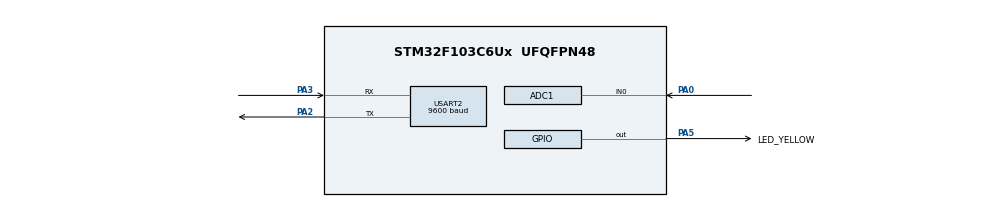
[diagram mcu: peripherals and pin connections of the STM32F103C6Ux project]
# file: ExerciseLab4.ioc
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ADC1.Channel-0\#ChannelRegularConversion=ADC_CHANNEL_0
ADC1.ContinuousConvMode=ENABLE
ADC1.NbrOfConversionFlag=1
ADC1.Rank-0\#ChannelRegularConversion=1
ADC1.SamplingTime-0\#ChannelRegularConversion=ADC_SAMPLETIME_1CYCLE_5
ADC1.master=1
Mcu.Family=STM32F1
Mcu.Name=STM32F103C6Ux
Mcu.Package=UFQFPN48
NVIC.PriorityGroup=NVIC_PRIORITYGROUP_4
NVIC.TIM2_IRQn=true\:0\:0\:false\:false\:true\:true\:true
NVIC.USART2_IRQn=true\:0\:0\:false\:false\:true\:true\:true
PA0-WKUP.Signal=ADCx_IN0
PA2.Mode=Asynchronous
PA2.Signal=USART2_TX
PA3.Mode=Asynchronous
PA3.Signal=USART2_RX
PA5.GPIO_Label=LED_YELLOW
PA5.Signal=GPIO_Output
ProjectManager.HeapSize=0x200
ProjectManager.StackSize=0x400
ProjectManager.TargetToolchain=STM32CubeIDE
RCC.APB1Freq_Value=8000000
RCC.APB2Freq_Value=8000000
SH.ADCx_IN0.0=ADC1_IN0,IN0
TIM2.Period=9
TIM2.Prescaler=7999
USART2.BaudRate=9600
USART2.VirtualMode=VM_ASYNC
VP_SYS_VS_ND.Mode=No_Debug
VP_TIM2_VS_ClockSourceINT.Mode=Internal
board=custom

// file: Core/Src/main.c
/* USER CODE BEGIN Header */
/**
  ******************************************************************************
  * @file           : main.c
  * @brief          : Main program body
  ******************************************************************************
  * @attention
  *
  * <h2><center>&copy; Copyright (c) 2023 STMicroelectronics.
  * All rights reserved.</center></h2>
  *
  * This software component is licensed by ST under BSD 3-Clause license,
  * the "License"; You may not use this file except in compliance with the
  * License. You may obtain a copy of the License at:
  *                        opensource.org/licenses/BSD-3-Clause
  *
  ******************************************************************************
  */
/* USER CODE END Header */
#include "main.h"

/* USER CODE BEGIN Includes */
#include<stdio.h>
/* USER CODE END Includes */

/* USER CODE BEGIN PTD */
//#include"global.h"
#include"command_parser.h"
#include"uart_communication.h"

/* USER CODE END PTD */

ADC_HandleTypeDef hadc1;

TIM_HandleTypeDef htim2;

UART_HandleTypeDef huart2;

void SystemClock_Config(void);
static void MX_GPIO_Init(void);
static void MX_ADC1_Init(void);
static void MX_USART2_UART_Init(void);
static void MX_TIM2_Init(void);

/* USER CODE BEGIN 0 */

void HAL_UART_RxCpltCallback ( UART_HandleTypeDef * huart ) {
	if( huart -> Instance == USART2 ) {
		buffer[index_buffer++]=temp;
		if(index_buffer==30) index_buffer=0;
		buffer_flag=1;
		HAL_UART_Receive_IT(&huart2, &temp, 1);
		HAL_UART_Transmit(&huart2, &temp, 1, 100);
	}
}
/* USER CODE END 0 */

int main(void)
{

  /* MCU Configuration--------------------------------------------------------*/

  /* Reset of all peripherals, Initializes the Flash interface and the Systick. */
  HAL_Init();

  /* Configure the system clock */
  SystemClock_Config();

  /* Initialize all configured peripherals */
  MX_GPIO_Init();
  MX_ADC1_Init();
  MX_USART2_UART_Init();
  MX_TIM2_Init();
  /* USER CODE BEGIN 2 */
  HAL_UART_Receive_IT(&huart2, &temp, 1);
  HAL_TIM_Base_Start_IT(&htim2);
  /* USER CODE END 2 */

  /* Infinite loop */
  /* USER CODE BEGIN WHILE */
  HAL_ADC_Start(&hadc1);
  while (1)
  {
    /* USER CODE END WHILE */
	  if(buffer_flag==1){
		  command_parser_fsm();
		  buffer_flag=0;
	  }
	  uart_communication_fsm();
  }
}

void SystemClock_Config(void)
{
  RCC_OscInitTypeDef RCC_OscInitStruct = {0};
  RCC_ClkInitTypeDef RCC_ClkInitStruct = {0};
  RCC_PeriphCLKInitTypeDef PeriphClkInit = {0};

  /** Initializes the RCC Oscillators according to the specified parameters
  * in the RCC_OscInitTypeDef structure.
  */
  RCC_OscInitStruct.OscillatorType = RCC_OSCILLATORTYPE_HSI;
  RCC_OscInitStruct.HSIState = RCC_HSI_ON;
  RCC_OscInitStruct.HSICalibrationValue = RCC_HSICALIBRATION_DEFAULT;
  RCC_OscInitStruct.PLL.PLLState = RCC_PLL_NONE;
  if (HAL_RCC_OscConfig(&RCC_OscInitStruct) != HAL_OK)
  {
    Error_Handler();
  }
  /** Initializes the CPU, AHB and APB buses clocks
  */
  RCC_ClkInitStruct.ClockType = RCC_CLOCKTYPE_HCLK|RCC_CLOCKTYPE_SYSCLK
                              |RCC_CLOCKTYPE_PCLK1|RCC_CLOCKTYPE_PCLK2;
  RCC_ClkInitStruct.SYSCLKSource = RCC_SYSCLKSOURCE_HSI;
  RCC_ClkInitStruct.AHBCLKDivider = RCC_SYSCLK_DIV1;
  RCC_ClkInitStruct.APB1CLKDivider = RCC_HCLK_DIV1;
  RCC_ClkInitStruct.APB2CLKDivider = RCC_HCLK_DIV1;

  if (HAL_RCC_ClockConfig(&RCC_ClkInitStruct, FLASH_LATENCY_0) != HAL_OK)
  {
    Error_Handler();
  }
  PeriphClkInit.PeriphClockSelection = RCC_PERIPHCLK_ADC;
  PeriphClkInit.AdcClockSelection = RCC_ADCPCLK2_DIV2;
  if (HAL_RCCEx_PeriphCLKConfig(&PeriphClkInit) != HAL_OK)
  {
    Error_Handler();
  }
}

static void MX_ADC1_Init(void)
{

  ADC_ChannelConfTypeDef sConfig = {0};

  /** Common config
  */
  hadc1.Instance = ADC1;
  hadc1.Init.ScanConvMode = ADC_SCAN_DISABLE;
  hadc1.Init.ContinuousConvMode = ENABLE;
  hadc1.Init.DiscontinuousConvMode = DISABLE;
  hadc1.Init.ExternalTrigConv = ADC_SOFTWARE_START;
  hadc1.Init.DataAlign = ADC_DATAALIGN_RIGHT;
  hadc1.Init.NbrOfConversion = 1;
  if (HAL_ADC_Init(&hadc1) != HAL_OK)
  {
    Error_Handler();
  }
  /** Configure Regular Channel
  */
  sConfig.Channel = ADC_CHANNEL_0;
  sConfig.Rank = ADC_REGULAR_RANK_1;
  sConfig.SamplingTime = ADC_SAMPLETIME_1CYCLE_5;
  if (HAL_ADC_ConfigChannel(&hadc1, &sConfig) != HAL_OK)
  {
    Error_Handler();
  }

}

static void MX_TIM2_Init(void)
{

  TIM_ClockConfigTypeDef sClockSourceConfig = {0};
  TIM_MasterConfigTypeDef sMasterConfig = {0};

  htim2.Instance = TIM2;
  htim2.Init.Prescaler = 7999;
  htim2.Init.CounterMode = TIM_COUNTERMODE_UP;
  htim2.Init.Period = 9;
  htim2.Init.ClockDivision = TIM_CLOCKDIVISION_DIV1;
  htim2.Init.AutoReloadPreload = TIM_AUTORELOAD_PRELOAD_DISABLE;
  if (HAL_TIM_Base_Init(&htim2) != HAL_OK)
  {
    Error_Handler();
  }
  sClockSourceConfig.ClockSource = TIM_CLOCKSOURCE_INTERNAL;
  if (HAL_TIM_ConfigClockSource(&htim2, &sClockSourceConfig) != HAL_OK)
  {
    Error_Handler();
  }
  sMasterConfig.MasterOutputTrigger = TIM_TRGO_RESET;
  sMasterConfig.MasterSlaveMode = TIM_MASTERSLAVEMODE_DISABLE;
  if (HAL_TIMEx_MasterConfigSynchronization(&htim2, &sMasterConfig) != HAL_OK)
  {
    Error_Handler();
  }

}

static void MX_USART2_UART_Init(void)
{

  huart2.Instance = USART2;
  huart2.Init.BaudRate = 9600;
  huart2.Init.WordLength = UART_WORDLENGTH_8B;
  huart2.Init.StopBits = UART_STOPBITS_1;
  huart2.Init.Parity = UART_PARITY_NONE;
  huart2.Init.Mode = UART_MODE_TX_RX;
  huart2.Init.HwFlowCtl = UART_HWCONTROL_NONE;
  huart2.Init.OverSampling = UART_OVERSAMPLING_16;
  if (HAL_UART_Init(&huart2) != HAL_OK)
  {
    Error_Handler();
  }

}

static void MX_GPIO_Init(void)
{
  GPIO_InitTypeDef GPIO_InitStruct = {0};

  /* GPIO Ports Clock Enable */
  __HAL_RCC_GPIOA_CLK_ENABLE();

  /*Configure GPIO pin Output Level */
  HAL_GPIO_WritePin(LED_YELLOW_GPIO_Port, LED_YELLOW_Pin, GPIO_PIN_RESET);

  /*Configure GPIO pin : LED_YELLOW_Pin */
  GPIO_InitStruct.Pin = LED_YELLOW_Pin;
  GPIO_InitStruct.Mode = GPIO_MODE_OUTPUT_PP;
  GPIO_InitStruct.Pull = GPIO_NOPULL;
  GPIO_InitStruct.Speed = GPIO_SPEED_FREQ_LOW;
  HAL_GPIO_Init(LED_YELLOW_GPIO_Port, &GPIO_InitStruct);

}

/* USER CODE BEGIN 4 */
void HAL_TIM_PeriodElapsedCallback(TIM_HandleTypeDef *htim){
	timerRun();
}
/* USER CODE END 4 */

void Error_Handler(void)
{
  __disable_irq();
  while (1)
  {
  }
}

/************************ (C) COPYRIGHT STMicroelectronics *****END OF FILE****/
